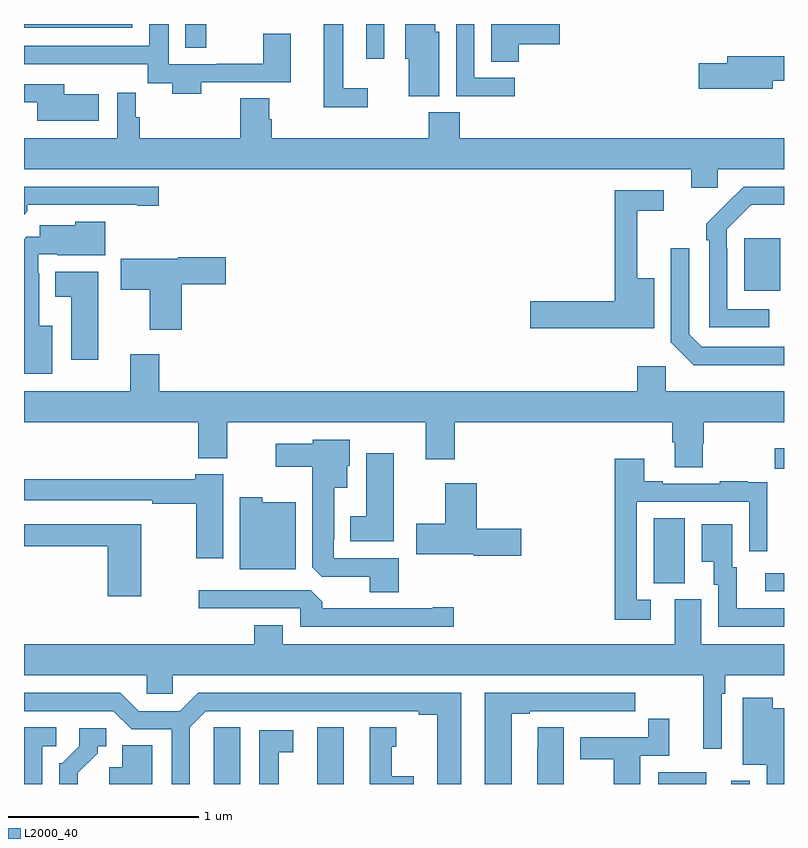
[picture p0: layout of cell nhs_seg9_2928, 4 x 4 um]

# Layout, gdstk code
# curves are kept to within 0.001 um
import gdstk
lib = gdstk.Library(unit=1e-6, precision=1e-09)
def R(c, l, rs):  # rectangles x0, y0, x1, y1
    for r in rs: c.add(gdstk.rectangle(r[:2], r[2:], *l))
def P(c, l, *ps):  # polygons
    for p in ps: c.add(gdstk.Polygon(p, *l))
L2000_40 = (2000, 40)

nhs_seg9_2928 = lib.new_cell('nhs_seg9_2928')
R(nhs_seg9_2928, L2000_40, [(280.544,1210.5,280.684,1210.798), (282.338,1210.5,282.592,1210.561), (282.722,1210.5,282.819,1210.516), (282.9,1211.514,283,1211.61), (282.314,1211.557,282.478,1211.9), (282.951,1212.158,283,1212.268), (282.791,1213.097,282.979,1213.372), (280.8,1214.316,280.896,1214.5), (279.848,1214.374,279.958,1214.5), (279,1214.481,279.57,1214.5)])
P(nhs_seg9_2928, L2000_40, [(279.932,1214.193),(280.405,1214.193),(280.405,1214.449),(280.258,1214.449),(280.258,1214.291),(280.015,1214.291),(280.015,1214.289),(279.763,1214.289),(279.763,1214.5),(279.659,1214.5),(279.659,1214.385),(279,1214.385),(279,1214.289),(279.381,1214.289),(279.381,1214.288),(279.65,1214.288),(279.65,1214.189),(279.779,1214.189),(279.779,1214.132),(279.932,1214.132)],
  [(280.81,1214.161),(280.681,1214.161),(280.681,1214.5),(280.577,1214.5),(280.577,1214.063),(280.81,1214.063)],
  [(281.584,1214.217),(281.37,1214.217),(281.37,1214.5),(281.274,1214.5),(281.274,1214.121),(281.584,1214.121)],
  [(281.185,1214.46),(281.164,1214.46),(281.164,1214.5),(281.006,1214.5),(281.006,1214.316),(281.024,1214.316),(281.024,1214.121),(281.185,1214.121)],
  [(281.603,1214.393),(281.821,1214.393),(281.821,1214.5),(281.459,1214.5),(281.459,1214.302),(281.603,1214.302)],
  [(282.94,1214.202),(283,1214.202),(283,1214.33),(282.701,1214.33),(282.701,1214.294),(282.552,1214.294),(282.552,1214.159),(282.94,1214.159)],
  [(279.394,1214.131),(279.211,1214.131),(279.211,1214.184),(279,1214.184),(279,1214.088),(279.071,1214.088),(279.071,1213.991),(279.394,1213.991)],
  [(282.512,1213.638),(282.651,1213.638),(282.651,1213.736),(283,1213.736),(283,1213.9),(281.294,1213.9),(281.294,1214.035),(281.129,1214.035),(281.129,1213.9),(280.304,1213.9),(280.304,1213.998),(280.291,1213.998),(280.291,1214.108),(280.139,1214.108),(280.139,1213.9),(279.608,1213.9),(279.608,1214.01),(279.589,1214.01),(279.589,1214.137),(279.492,1214.137),(279.492,1213.9),(279,1213.9),(279,1213.736),(282.512,1213.736)],
  [(282.922,1212.999),(282.702,1212.999),(282.702,1213.319),(282.699,1213.319),(282.699,1213.419),(282.828,1213.548),(283,1213.548),(283,1213.644),(282.788,1213.644),(282.591,1213.449),(282.591,1213.361),(282.606,1213.361),(282.606,1212.903),(282.922,1212.903)],
  [(279.017,1213.514),(279.017,1213.548),(279.596,1213.548),(279.596,1213.543),(279.709,1213.543),(279.709,1213.644),(279,1213.644),(279,1213.497)],
  [(282.316,1213.162),(282.227,1213.162),(282.227,1213.518),(282.367,1213.518),(282.367,1213.626),(282.109,1213.626),(282.109,1213.04),(281.664,1213.04),(281.664,1212.898),(282.316,1212.898)],
  [(279.148,1212.913),(279.079,1212.913),(279.079,1213.187),(279.075,1213.187),(279.075,1213.287),(279.175,1213.287),(279.175,1213.283),(279.427,1213.283),(279.427,1213.459),(279.27,1213.459),(279.27,1213.441),(279.083,1213.441),(279.083,1213.38),(279.012,1213.38),(279,1213.368),(279,1212.659),(279.148,1212.659)],
  [(283,1212.801),(282.567,1212.801),(282.501,1212.867),(282.501,1213.321),(282.405,1213.321),(282.405,1212.825),(282.526,1212.704),(283,1212.704)],
  [(279.83,1213.13),(280.063,1213.13),(280.063,1213.272),(279.813,1213.272),(279.813,1213.264),(279.51,1213.264),(279.51,1213.102),(279.662,1213.102),(279.662,1212.891),(279.83,1212.891)],
  [(279.391,1213.195),(279.164,1213.195),(279.164,1213.064),(279.248,1213.064),(279.248,1212.732),(279.391,1212.732)],
  [(282.573,1212.291),(282.578,1212.291),(282.578,1212.404),(283,1212.404),(283,1212.568),(282.378,1212.568),(282.378,1212.7),(282.227,1212.7),(282.227,1212.568),(279.713,1212.568),(279.713,1212.763),(279.56,1212.763),(279.56,1212.568),(279,1212.568),(279,1212.404),(279.917,1212.404),(279.917,1212.215),(280.069,1212.215),(280.069,1212.404),(281.114,1212.404),(281.114,1212.21),(281.267,1212.21),(281.267,1212.404),(282.413,1212.404),(282.413,1212.298),(282.425,1212.298),(282.425,1212.166),(282.573,1212.166)],
  [(280.973,1211.688),(280.629,1211.688),(280.629,1211.785),(280.633,1211.785),(280.633,1212.059),(280.702,1212.059),(280.702,1212.174),(280.714,1212.174),(280.714,1212.313),(280.521,1212.313),(280.521,1212.292),(280.326,1212.292),(280.326,1212.17),(280.517,1212.17),(280.517,1211.641),(280.566,1211.592),(280.82,1211.592),(280.82,1211.509),(280.973,1211.509)],
  [(280.945,1212.241),(280.802,1212.241),(280.802,1211.908),(280.718,1211.908),(280.718,1211.777),(280.945,1211.777)],
  [(282.298,1211.469),(282.225,1211.469),(282.225,1211.985),(282.816,1211.985),(282.816,1211.724),(282.912,1211.724),(282.912,1211.978),(282.911,1211.978),(282.911,1212.087),(282.809,1212.087),(282.809,1212.094),(282.661,1212.094),(282.661,1212.081),(282.361,1212.081),(282.361,1212.094),(282.265,1212.094),(282.265,1212.211),(282.109,1212.211),(282.109,1211.364),(282.298,1211.364)],
  [(280.048,1212.13),(279.902,1212.13),(279.902,1212.103),(279,1212.103),(279,1211.994),(279.676,1211.994),(279.676,1211.974),(279.907,1211.974),(279.907,1211.688),(280.048,1211.688)],
  [(281.617,1211.843),(281.384,1211.843),(281.384,1212.082),(281.216,1212.082),(281.216,1211.871),(281.064,1211.871),(281.064,1211.708),(281.367,1211.708),(281.367,1211.701),(281.617,1211.701)],
  [(280.429,1211.983),(280.254,1211.983),(280.254,1212.01),(280.136,1212.01),(280.136,1211.63),(280.429,1211.63)],
  [(279.618,1211.868),(279,1211.868),(279,1211.752),(279.44,1211.752),(279.44,1211.487),(279.618,1211.487)],
  [(283,1211.424),(282.751,1211.424),(282.751,1211.64),(282.727,1211.64),(282.727,1211.866),(282.566,1211.866),(282.566,1211.669),(282.629,1211.669),(282.629,1211.55),(282.654,1211.55),(282.654,1211.328),(283,1211.328)],
  [(281.263,1211.429),(281.15,1211.429),(281.15,1211.424),(280.571,1211.424),(280.571,1211.458),(280.509,1211.52),(279.921,1211.52),(279.921,1211.424),(280.455,1211.424),(280.455,1211.328),(281.263,1211.328)],
  [(282.672,1210.976),(282.692,1210.976),(282.692,1211.072),(283,1211.072),(283,1211.236),(282.565,1211.236),(282.565,1211.472),(282.425,1211.472),(282.425,1211.236),(280.363,1211.236),(280.363,1211.335),(280.211,1211.335),(280.211,1211.236),(279,1211.236),(279,1211.072),(279.645,1211.072),(279.645,1210.974),(279.783,1210.974),(279.783,1211.072),(282.575,1211.072),(282.575,1210.686),(282.672,1210.686)],
  [(281.566,1210.869),(281.662,1210.869),(281.662,1210.884),(281.938,1210.884),(281.938,1210.883),(282.104,1210.883),(282.104,1210.884),(282.217,1210.884),(282.217,1210.98),(281.426,1210.98),(281.426,1210.5),(281.566,1210.5)],
  [(279.873,1210.8),(279.957,1210.884),(281.078,1210.884),(281.078,1210.864),(281.174,1210.864),(281.174,1210.5),(281.302,1210.5),(281.302,1210.98),(279.917,1210.98),(279.821,1210.884),(279.603,1210.884),(279.507,1210.98),(279,1210.98),(279,1210.884),(279.471,1210.884),(279.567,1210.788),(279.777,1210.788),(279.777,1210.5),(279.873,1210.5)],
  [(283,1210.9),(282.94,1210.9),(282.94,1210.954),(282.782,1210.954),(282.782,1210.601),(282.909,1210.601),(282.909,1210.5),(283,1210.5)],
  [(282.244,1210.65),(282.395,1210.65),(282.395,1210.843),(282.286,1210.843),(282.286,1210.746),(281.927,1210.746),(281.927,1210.63),(282.104,1210.63),(282.104,1210.5),(282.244,1210.5)],
  [(281.842,1210.799),(281.703,1210.799),(281.703,1210.691),(281.702,1210.691),(281.702,1210.5),(281.842,1210.5)],
  [(279.096,1210.698),(279.169,1210.698),(279.169,1210.799),(279,1210.799),(279,1210.5),(279.096,1210.5)],
  [(280.138,1210.799),(279.999,1210.799),(279.999,1210.691),(279.998,1210.691),(279.998,1210.5),(280.138,1210.5)],
  [(281.05,1210.54),(280.936,1210.54),(280.936,1210.695),(280.96,1210.695),(280.96,1210.798),(280.82,1210.798),(280.82,1210.5),(281.05,1210.5)],
  [(279.283,1210.558),(279.388,1210.663),(279.388,1210.698),(279.433,1210.698),(279.433,1210.794),(279.291,1210.794),(279.291,1210.698),(279.201,1210.608),(279.186,1210.608),(279.186,1210.5),(279.283,1210.5)],
  [(280.342,1210.666),(280.417,1210.666),(280.417,1210.782),(280.238,1210.782),(280.238,1210.5),(280.342,1210.5)],
  [(279.676,1210.703),(279.518,1210.703),(279.518,1210.588),(279.449,1210.588),(279.449,1210.5),(279.676,1210.5)])

lib.write_gds('nhs_seg9_2928.gds')
